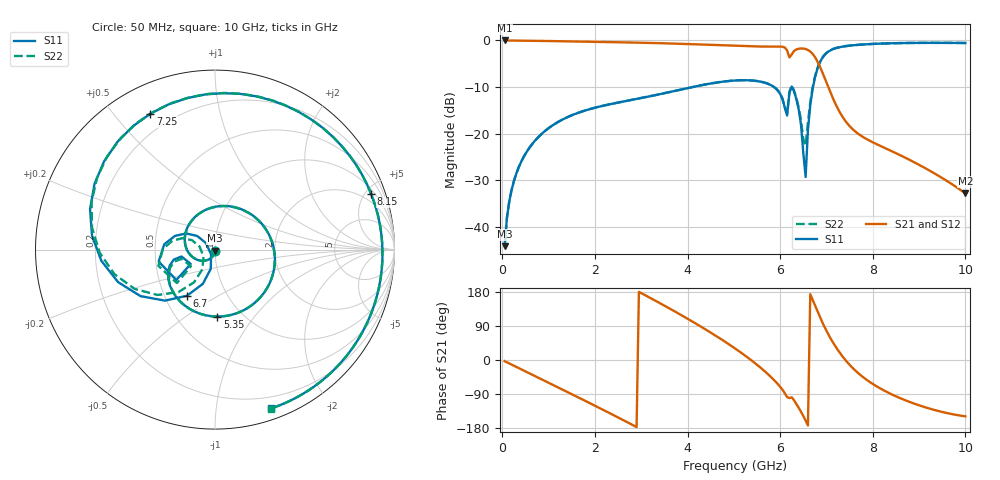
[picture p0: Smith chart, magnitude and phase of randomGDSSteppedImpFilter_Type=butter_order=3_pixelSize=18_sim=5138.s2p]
! freq	dB(S11)	phase(S11)	dB(S12)	phase(S12)
!  dB(S21)	phase(S21)	dB(S22)	phase(S22)
!S-par simulation data
#  GHz  S  DB  R 50
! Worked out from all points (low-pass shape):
!   200 points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, 50 MHz to 10 GHz, reference 50 ohm
!   highest |S21| = -0.01 dB at 50 MHz (marker M1); lowest = -32.8 dB at 10 GHz (marker M2)
!   |S21| within 3 dB of the highest: start of sweep to 6.179 GHz; 6.25 GHz to 6.71 GHz (460.6 MHz wide, 7.11 % of centre)
!   lowest |S11| = -44.1 dB at 50 MHz (marker M3), VSWR 1.01, Z = 50 - j0.625 ohm
!   |S11| at or under -10 dB: start of sweep to 4.101 GHz; 5.868 GHz to 6.245 GHz (377.4 MHz wide, 6.23 % of centre); 6.256 GHz to 6.709 GHz (453 MHz wide, 6.99 % of centre)
!   |S22| runs from -44.1 to -0.5 dB; largest |S21 - S12| = 0
!   S11 on the Smith chart (normalised r, x): 50 MHz: 1.00, -0.01; 5.35 GHz: 0.77, -0.67; 6.7 GHz: 0.65, -0.37; 7.25 GHz: 0.12, +0.62; 8.15 GHz: 1.31, +5.51; 10 GHz: 0.10, -1.41
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0.05  -44.08 -90.0  -0.01 -3.1  -0.01 -3.1  -44.08 -90.0
0.2  -32.06 -101.4  -0.02 -12.1  -0.02 -12.1  -32.06 -101.5
0.5  -24.30 -120.3  -0.06 -30.1  -0.06 -30.1  -24.30 -120.6
1.15  -17.79 -159.7  -0.16 -69.1  -0.16 -69.1  -17.78 -160.3
1.75  -15.13 164.1  -0.26 -105.3  -0.26 -105.3  -15.13 163.2
2.65  -13.02 108.6  -0.42 -161.0  -0.42 -161.0  -13.01 107.3
3.4  -11.52 60.2  -0.59 150.2  -0.59 150.2  -11.52 58.7
4.25  -9.69 1.3  -0.86 91.0  -0.86 91.0  -9.69 0.1
5.05  -8.57 -61.2  -1.17 28.5  -1.17 28.5  -8.56 -61.7
5.35  -8.56 -88.0  -1.26 1.9  -1.26 1.9  -8.55 -88.2
5.75  -9.35 -129.5  -1.32 -38.9  -1.32 -38.9  -9.33 -128.7
6.1  -14.41 -168.4  -1.51 -87.6  -1.51 -87.6  -14.30 -164.6
6.35  -12.56 161.0  -1.93 -115.8  -1.93 -115.8  -12.32 168.2
6.55  -29.27 -129.5  -1.84 -159.9  -1.84 -159.9  -22.53 -148.3
6.7  -10.45 -121.3  -2.87 159.4  -2.87 159.4  -10.12 -130.7
6.95  -3.22 173.4  -7.79 89.3  -7.79 89.3  -3.15 169.9
7.25  -1.53 115.5  -14.69 25.6  -14.69 25.6  -1.50 113.8
7.6  -1.02 69.3  -19.32 -25.2  -19.32 -25.2  -1.00 68.5
8.15  -0.69 19.5  -22.54 -74.2  -22.54 -74.2  -0.68 19.2
8.35  -0.63 5.6  -23.45 -87.2  -23.45 -87.2  -0.62 5.3
9.15  -0.52 -37.6  -27.46 -125.4  -27.46 -125.4  -0.52 -37.7
10  -0.55 -70.7  -32.77 -148.7  -32.77 -148.7  -0.55 -70.7
